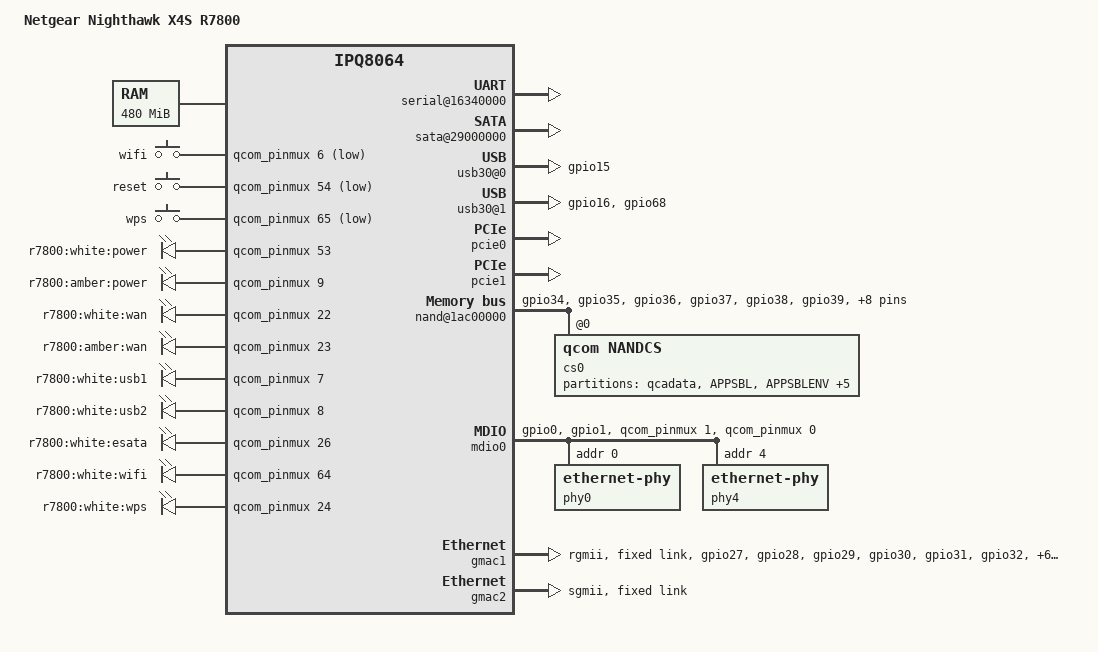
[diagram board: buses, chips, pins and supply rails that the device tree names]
#include "qcom-ipq8065.dtsi"

#include <dt-bindings/input/input.h>

/ {
	model = "Netgear Nighthawk X4S R7800";
	compatible = "netgear,r7800", "qcom,ipq8065", "qcom,ipq8064";

	memory@0 {
		reg = <0x42000000 0x1e000000>;
		device_type = "memory";
	};

	reserved-memory {
		#address-cells = <1>;
		#size-cells = <1>;
		ranges;
		rsvd@41200000 {
			reg = <0x41200000 0x300000>;
			no-map;
		};

		rsvd@5fe00000 {
			reg = <0x5fe00000 0x200000>;
			reusable;
		};
	};

	aliases {
		serial0 = &gsbi4_serial;
		mdio-gpio0 = &mdio0;

		led-boot = &power_white;
		led-failsafe = &power_amber;
		led-running = &power_white;
		led-upgrade = &power_amber;
	};

	chosen {
		linux,stdout-path = "serial0:115200n8";
	};

	soc {
		pinmux@800000 {
			button_pins: button_pins {
				mux {
					pins = "gpio6", "gpio54", "gpio65";
					function = "gpio";
					drive-strength = <2>;
					bias-pull-up;
				};
			};

			i2c4_pins: i2c4_pinmux {
				mux {
					pins = "gpio12", "gpio13";
					function = "gsbi4";
					drive-strength = <12>;
					bias-disable;
				};
			};

			led_pins: led_pins {
				pins = "gpio7", "gpio8", "gpio9", "gpio22", "gpio23",
					"gpio24","gpio26", "gpio53", "gpio64";
				function = "gpio";
				drive-strength = <2>;
				bias-pull-down;
			};

			nand_pins: nand_pins {
				mux {
					pins = "gpio34", "gpio35", "gpio36",
					       "gpio37", "gpio38", "gpio39",
					       "gpio40", "gpio41", "gpio42",
					       "gpio43", "gpio44", "gpio45",
					       "gpio46", "gpio47";
					function = "nand";
					drive-strength = <10>;
					bias-disable;
				};
				pullups {
					pins = "gpio39";
					bias-pull-up;
				};
				hold {
					pins = "gpio40", "gpio41", "gpio42",
					       "gpio43", "gpio44", "gpio45",
					       "gpio46", "gpio47";
					bias-bus-hold;
				};
			};

			mdio0_pins: mdio0_pins {
				mux {
					pins = "gpio0", "gpio1";
					function = "gpio";
					drive-strength = <8>;
					bias-disable;
				};

				clk {
					pins = "gpio1";
					input-disable;
				};
			};

			rgmii2_pins: rgmii2_pins {
				mux {
					pins = "gpio27", "gpio28", "gpio29", "gpio30", "gpio31", "gpio32",
					       "gpio51", "gpio52", "gpio59", "gpio60", "gpio61", "gpio62" ;
					function = "rgmii2";
					drive-strength = <8>;
					bias-disable;
				};

				tx {
					pins = "gpio27", "gpio28", "gpio29", "gpio30", "gpio31", "gpio32" ;
					input-disable;
				};
			};

			spi_pins: spi_pins {
				mux {
					pins = "gpio18", "gpio19", "gpio21";
					function = "gsbi5";
					bias-pull-down;
				};

				data {
					pins = "gpio18", "gpio19";
					drive-strength = <10>;
				};

				cs {
					pins = "gpio20";
					drive-strength = <10>;
					bias-pull-up;
				};

				clk {
					pins = "gpio21";
					drive-strength = <12>;
				};
			};

			spi6_pins: spi6_pins {
				mux {
					pins = "gpio55", "gpio56", "gpio58";
					function = "gsbi6";
					bias-pull-down;
				};

				mosi {
					pins = "gpio55";
					drive-strength = <12>;
				};

				miso {
					pins = "gpio56";
					drive-strength = <14>;
				};

				cs {
					pins = "gpio57";
					drive-strength = <12>;
					bias-pull-up;
				};

				clk {
					pins = "gpio58";
					drive-strength = <12>;
				};

				reset {
					pins = "gpio33";
					drive-strength = <10>;
					bias-pull-down;
					output-high;
				};
			};

			usb0_pwr_en_pins: usb0_pwr_en_pins {
				mux {
					pins = "gpio15";
					function = "gpio";
					drive-strength = <12>;
					bias-pull-down;
					output-high;
				};
			};

			usb1_pwr_en_pins: usb1_pwr_en_pins {
				mux {
					pins = "gpio16", "gpio68";
					function = "gpio";
					drive-strength = <12>;
					bias-pull-down;
					output-high;
				};
			};
		};

		gsbi@16300000 {
			qcom,mode = <GSBI_PROT_I2C_UART>;
			status = "ok";
			serial@16340000 {
				status = "ok";
			};
			/*
			 * The i2c device on gsbi4 should not be enabled.
			 * On ipq806x designs gsbi4 i2c is meant for exclusive
			 * RPM usage. Turning this on in kernel manifests as
			 * i2c failure for the RPM.
			 */
		};

		sata-phy@1b400000 {
			status = "ok";
		};

		sata@29000000 {
			ports-implemented = <0x1>;
			status = "ok";
		};

		phy@100f8800 {		/* USB3 port 1 HS phy */
			status = "ok";
		};

		phy@100f8830 {		/* USB3 port 1 SS phy */
			status = "ok";
		};

		phy@110f8800 {		/* USB3 port 0 HS phy */
			status = "ok";
		};

		phy@110f8830 {		/* USB3 port 0 SS phy */
			status = "ok";
		};

		usb30@0 {
			status = "ok";

			pinctrl-0 = <&usb0_pwr_en_pins>;
			pinctrl-names = "default";
		};

		usb30@1 {
			status = "ok";

			pinctrl-0 = <&usb1_pwr_en_pins>;
			pinctrl-names = "default";
		};

		pcie0: pci@1b500000 {
			status = "ok";
		};

		pcie1: pci@1b700000 {
			status = "ok";
			force_gen1 = <1>;
		};

		nand@1ac00000 {
			status = "ok";

			pinctrl-0 = <&nand_pins>;
			pinctrl-names = "default";

			cs0 {
				reg = <0>;
				compatible = "qcom,nandcs";

				nand-ecc-strength = <4>;
				nand-bus-width = <8>;
				nand-ecc-step-size = <512>;

				partitions {
					compatible = "fixed-partitions";
					#address-cells = <1>;
					#size-cells = <1>;

					qcadata@0 {
						label = "qcadata";
						reg = <0x0000000 0x0c80000>;
						read-only;
					};

					APPSBL@c80000 {
						label = "APPSBL";
						reg = <0x0c80000 0x0500000>;
						read-only;
					};

					APPSBLENV@1180000 {
						label = "APPSBLENV";
						reg = <0x1180000 0x0080000>;
						read-only;
					};

					art: art@1200000 {
						label = "art";
						reg = <0x1200000 0x0140000>;
						read-only;
					};

					artbak: art@1340000 {
						label = "artbak";
						reg = <0x1340000 0x0140000>;
						read-only;
					};

					kernel@1480000 {
						label = "kernel";
						reg = <0x1480000 0x0400000>;
					};

					ubi@1880000 {
						label = "ubi";
						reg = <0x1880000 0x6080000>;
					};

					reserve@7900000 {
						label = "reserve";
						reg = <0x7900000 0x0700000>;
						read-only;
					};
				};
			};
		};

		mdio0: mdio {
			compatible = "virtual,mdio-gpio";
			#address-cells = <1>;
			#size-cells = <0>;
			gpios = <&qcom_pinmux 1 GPIO_ACTIVE_HIGH &qcom_pinmux 0 GPIO_ACTIVE_HIGH>;
			pinctrl-0 = <&mdio0_pins>;
			pinctrl-names = "default";


			phy0: ethernet-phy@0 {
				device_type = "ethernet-phy";
				reg = <0>;
				qca,ar8327-initvals = <
					0x00004 0x7600000   /* PAD0_MODE */
					0x00008 0x1000000   /* PAD5_MODE */
					0x0000c 0x80        /* PAD6_MODE */
					0x000e4 0xaa545     /* MAC_POWER_SEL */
					0x000e0 0xc74164de  /* SGMII_CTRL */
					0x0007c 0x4e        /* PORT0_STATUS */
					0x00094 0x4e        /* PORT6_STATUS */
					0x00970 0x1e864443  /* QM_PORT0_CTRL0 */
					0x00974 0x000001c6  /* QM_PORT0_CTRL1 */
					0x00978 0x19008643  /* QM_PORT1_CTRL0 */
					0x0097c 0x000001c6  /* QM_PORT1_CTRL1 */
					0x00980 0x19008643  /* QM_PORT2_CTRL0 */
					0x00984 0x000001c6  /* QM_PORT2_CTRL1 */
					0x00988 0x19008643  /* QM_PORT3_CTRL0 */
					0x0098c 0x000001c6  /* QM_PORT3_CTRL1 */
					0x00990 0x19008643  /* QM_PORT4_CTRL0 */
					0x00994 0x000001c6  /* QM_PORT4_CTRL1 */
					0x00998 0x1e864443  /* QM_PORT5_CTRL0 */
					0x0099c 0x000001c6  /* QM_PORT5_CTRL1 */
					0x009a0 0x1e864443  /* QM_PORT6_CTRL0 */
					0x009a4 0x000001c6  /* QM_PORT6_CTRL1 */
					>;
				qca,ar8327-vlans = <
					0x1	0x5e	    /* VLAN1 Ports 1/2/3/4/6 */
					0x2	0x21	    /* VLAN2 Ports 0/5 */
				>;
			};

			phy4: ethernet-phy@4 {
				device_type = "ethernet-phy";
				reg = <4>;
				qca,ar8327-initvals = <
					0x000e4 0x6a545     /* MAC_POWER_SEL */
					0x0000c 0x80        /* PAD6_MODE */
					>;
			};
		};

		gmac1: ethernet@37200000 {
			status = "ok";
			phy-mode = "rgmii";
			qcom,id = <1>;
			qcom,phy_mdio_addr = <4>;
			qcom,poll_required = <0>;
			qcom,rgmii_delay = <1>;
			qcom,phy_mii_type = <0>;
			qcom,emulation = <0>;
			qcom,irq = <255>;
			mdiobus = <&mdio0>;

			pinctrl-0 = <&rgmii2_pins>;
			pinctrl-names = "default";

			mtd-mac-address = <&art 6>;

			fixed-link {
				speed = <1000>;
				full-duplex;
			};
		};

		gmac2: ethernet@37400000 {
			status = "ok";
			phy-mode = "sgmii";
			qcom,id = <2>;
			qcom,phy_mdio_addr = <0>;	/* none */
			qcom,poll_required = <0>;	/* no polling */
			qcom,rgmii_delay = <0>;
			qcom,phy_mii_type = <1>;
			qcom,emulation = <0>;
			qcom,irq = <258>;
			mdiobus = <&mdio0>;

			mtd-mac-address = <&art 0>;

			fixed-link {
				speed = <1000>;
				full-duplex;
			};
		};
	};

	gpio-keys {
		compatible = "gpio-keys";
		pinctrl-0 = <&button_pins>;
		pinctrl-names = "default";

		wifi {
			label = "wifi";
			gpios = <&qcom_pinmux 6 GPIO_ACTIVE_LOW>;
			linux,code = <KEY_RFKILL>;
			debounce-interval = <60>;
			wakeup-source;
		};

		reset {
			label = "reset";
			gpios = <&qcom_pinmux 54 GPIO_ACTIVE_LOW>;
			linux,code = <KEY_RESTART>;
			debounce-interval = <60>;
			wakeup-source;
		};

		wps {
			label = "wps";
			gpios = <&qcom_pinmux 65 GPIO_ACTIVE_LOW>;
			linux,code = <KEY_WPS_BUTTON>;
			debounce-interval = <60>;
			wakeup-source;
		};
	};

	gpio-leds {
		compatible = "gpio-leds";
		pinctrl-0 = <&led_pins>;
		pinctrl-names = "default";

		power_white: power_white {
			label = "r7800:white:power";
			gpios = <&qcom_pinmux 53 GPIO_ACTIVE_HIGH>;
			default-state = "keep";
		};

		power_amber: power_amber {
			label = "r7800:amber:power";
			gpios = <&qcom_pinmux 9 GPIO_ACTIVE_HIGH>;
		};

		wan_white {
			label = "r7800:white:wan";
			gpios = <&qcom_pinmux 22 GPIO_ACTIVE_HIGH>;
		};

		wan_amber {
			label = "r7800:amber:wan";
			gpios = <&qcom_pinmux 23 GPIO_ACTIVE_HIGH>;
		};

		usb1 {
			label = "r7800:white:usb1";
			gpios = <&qcom_pinmux 7 GPIO_ACTIVE_HIGH>;
		};

		usb2 {
			label = "r7800:white:usb2";
			gpios = <&qcom_pinmux 8 GPIO_ACTIVE_HIGH>;
		};

		esata {
			label = "r7800:white:esata";
			gpios = <&qcom_pinmux 26 GPIO_ACTIVE_HIGH>;
		};

		wifi {
			label = "r7800:white:wifi";
			gpios = <&qcom_pinmux 64 GPIO_ACTIVE_HIGH>;
		};

		wps {
			label = "r7800:white:wps";
			gpios = <&qcom_pinmux 24 GPIO_ACTIVE_HIGH>;
		};
	};
};

&adm_dma {
	status = "ok";
};
